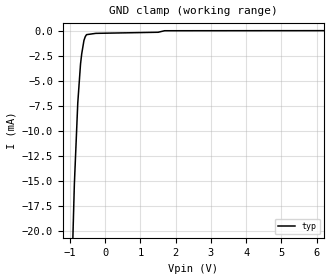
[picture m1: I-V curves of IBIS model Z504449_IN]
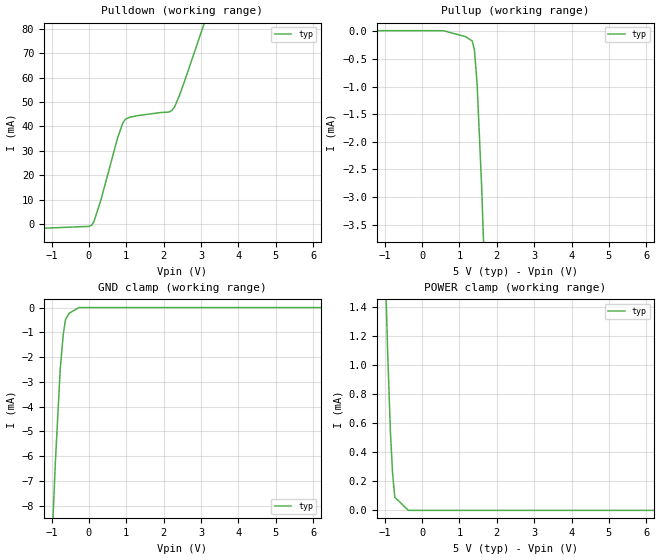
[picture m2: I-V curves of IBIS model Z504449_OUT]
| YOU ARE ONLY AUTHORIZED TO USE THIS SOFTWARE
| ACCORDING TO LICENSOR'S LICENSE RESTRICTIONS.
[IBIS Ver] 3.1
[File Name] sn54ls375j.ibs
[File Rev] 2.0
[Source] Measured and created by ICX Technology
[Date] Friday 7/14/00 9:08:15 AM
[Copyright]
| (C) COPYRIGHT 1993-2000
| MENTOR GRAPHICS CORPORATION
| ICX STANDARD LIBRARY, ICX PROJECT MODELING,
| ICX CUSTOM MODELING, ICX VENDOR MODEL
| ALL RIGHTS RESERVED.
| THE FOLLOWING ARE TRADEMARKS OR SERVICE MARKS OF
| MENTOR GRAPHICS CORPORATION:ICX (R), ICX STANDARD
| LIBRARY(R), ICX PROJECT MODELING(R), ICX CUSTOM
| MODELING(R), qualityIBIS(TM), MODELVIEWER(TM),
| AND MODELEDITOR(TM)
| ALL COPIES OF SOFTWARE, INCLUDING BUT NOT LIMITED TO
| ANY MODIFICATIONS, ENHANCEMENTS OR DERIVATIVE WORKS,
| MUST CONTAIN ALL MENTOR GRAPHICS CORPORATION'S
| NOTICES AND LEGENDS, INCLUDING THOSE EMBEDDED IN
| SOFTWARE AND THOSE AFFIXED TO SOFTWARE MEDIUM
| AND CONTAINER, AS RECEIVED FROM MENTOR GRAPHICS
| CORPORATION.
|  ZAP Model Builder 2.7
[Component] SN54LS375J
[Manufacturer] OnSemiconductor
[Package]
| variable   typ   min   max
R_pkg  .212ohms NA NA
L_pkg  4.758nH NA NA
C_pkg  1.944pF NA NA
[Pin] signal_name  model_name  R_pin  L_pin C_pin
1 D0 Z504449_IN .224 7.258n 2.683p
2 _Q0 Z504449_OUT .216 5.258n 2.19p
3 Q0 Z504449_OUT .208 3.758n 1.697p
4 CLK Z504449_IN .2 2.758n 1.204p
5 Q1 Z504449_OUT .2 2.758n 1.204p
6 _Q1 Z504449_OUT .208 3.758n 1.697p
7 D1 Z504449_IN .216 5.258n 2.19p
8 GND GND .224 7.258n 2.683p
9 D0 Z504449_IN .224 7.258n 2.683p
10 _Q0 Z504449_OUT .216 5.258n 2.19p
11 Q0 Z504449_OUT .208 3.758n 1.697p
12 CLK Z504449_IN .2 2.758n 1.204p
13 Q2 Z504449_OUT .2 2.758n 1.204p
14 _Q2 Z504449_OUT .208 3.758n 1.697p
15 D2 Z504449_IN .216 5.258n 2.19p
16 VCC POWER .224 7.258n 2.683p
| Models and submodels in the file (2): Z504449_IN (Input), Z504449_OUT (Output)
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| (C) COPYRIGHT 1993-2000
| MENTOR GRAPHICS CORPORATION
| ICX STANDARD LIBRARY, ICX PROJECT MODELING,
| ICX CUSTOM MODELING, ICX VENDOR MODEL
| ALL RIGHTS RESERVED.
| THE FOLLOWING ARE TRADEMARKS OR SERVICE MARKS OF
| MENTOR GRAPHICS CORPORATION:ICX (R), ICX STANDARD
| LIBRARY(R), ICX PROJECT MODELING(R), ICX CUSTOM
| MODELING(R), qualityIBIS(TM), MODELVIEWER(TM),
| AND MODELEDITOR(TM)
| ALL COPIES OF SOFTWARE, INCLUDING BUT NOT LIMITED TO
| ANY MODIFICATIONS, ENHANCEMENTS OR DERIVATIVE WORKS,
| MUST CONTAIN ALL MENTOR GRAPHICS CORPORATION'S
| NOTICES AND LEGENDS, INCLUDING THOSE EMBEDDED IN
| SOFTWARE AND THOSE AFFIXED TO SOFTWARE MEDIUM
| AND CONTAINER, AS RECEIVED FROM MENTOR GRAPHICS
| CORPORATION.
| Model Application Version 1.89 2/18/99.
[Model] Z504449_IN
Model_type Input
Vinl = 800.0mV
Vinh = 2.000V
C_comp 4.000pF NA NA
| variable typ   min   max
[Voltage Range] 5.000V NA NA
[GND Clamp Reference] 0.000V NA NA
[POWER Clamp Reference] 5.000V NA NA
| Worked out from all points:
|   GND clamp passes 1 mA (typ) near -0.60 V on its own axis
[GND Clamp]
-5V       -539.6mA   NA         NA
-871.7mV  -15.38mA   NA         NA
-774.8mV  -7.229mA   NA         NA
-696.9mV  -3.347mA   NA         NA
-663.4mV  -2.328mA   NA         NA
-599.9mV  -980.6uA   NA         NA
-563.4mV  -606.7uA   NA         NA
-527.3mV  -399.6uA   NA         NA
-263.7mV  -269.1uA   NA         NA
1.505V    -159.1uA   NA         NA
1.685V    -7.17uA    NA         NA
10V       9.44uA     NA         NA
[POWER Clamp]
-5V       0A         NA         NA
10V       0A         NA         NA
| (C) COPYRIGHT 1993-2000
| MENTOR GRAPHICS CORPORATION
| ICX STANDARD LIBRARY, ICX PROJECT MODELING,
| ICX CUSTOM MODELING, ICX VENDOR MODEL
| ALL RIGHTS RESERVED.
| THE FOLLOWING ARE TRADEMARKS OR SERVICE MARKS OF
| MENTOR GRAPHICS CORPORATION:ICX (R), ICX STANDARD
| LIBRARY(R), ICX PROJECT MODELING(R), ICX CUSTOM
| MODELING(R), qualityIBIS(TM), MODELVIEWER(TM),
| AND MODELEDITOR(TM)
| ALL COPIES OF SOFTWARE, INCLUDING BUT NOT LIMITED TO
| ANY MODIFICATIONS, ENHANCEMENTS OR DERIVATIVE WORKS,
| MUST CONTAIN ALL MENTOR GRAPHICS CORPORATION'S
| NOTICES AND LEGENDS, INCLUDING THOSE EMBEDDED IN
| SOFTWARE AND THOSE AFFIXED TO SOFTWARE MEDIUM
| AND CONTAINER, AS RECEIVED FROM MENTOR GRAPHICS
| CORPORATION.
| Model Application Version 1.89 2/18/99.
[Model] Z504449_OUT
Model_type Output
Vref=5.000V
Rref=2.000kohms
Cref=15.00pF
Vmeas=1.300V
C_comp 8.000pF NA NA
| variable typ   min   max
[Voltage Range] 5.000V NA NA
[POWER Clamp Reference] 5.000V NA NA
[Pullup Reference] 5.000V NA NA
[Pulldown Reference] 0.000V NA NA
[GND Clamp Reference] 0.000V NA NA
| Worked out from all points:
|   slope of the pulldown table from 0 to 0.75 V, typ, clamps not added: 21.3 ohm
|   slope of the pullup table from 0 to 0.75 V, typ, clamps not added: 22.5 kohm
|   GND clamp passes 1 mA (typ) near -0.68 V on its own axis
|   POWER clamp passes 1 mA (typ) near -0.91 V on its own axis
[GND Clamp]
-5V       -192.7mA   NA         NA
-1.206V   -18.37mA   NA         NA
-1.014V   -10.47mA   NA         NA
-898.1mV  -6.295mA   NA         NA
-765.6mV  -2.457mA   NA         NA
-683.6mV  -1.06mA    NA         NA
-625mV    -483.4uA   NA         NA
-528.3mV  -228.6uA   NA         NA
-264.1mV  0A         NA         NA
10V       0A         NA         NA
[Pulldown]
-5V       -4.079mA   NA         NA
9.766mV   -1.012mA   NA         NA
131.5mV   781.2uA    NA         NA
320.7mV   9.77mA     NA         NA
768.9mV   35.32mA    NA         NA
898.4mV   41.05mA    NA         NA
961.9mV   42.7mA     NA         NA
2.232V    46.79mA    NA         NA
2.29V     47.94mA    NA         NA
2.427V    52.87mA    NA         NA
2.617V    61.12mA    NA         NA
10V       395.4mA    NA         NA
[Pullup]
-5V       13.84uA    NA         NA
566mV     13.84uA    NA         NA
1.165V    -94.57uA   NA         NA
1.343V    -172.3uA   NA         NA
1.401V    -328.1uA   NA         NA
1.473V    -937.3uA   NA         NA
1.596V    -2.816mA   NA         NA
10V       -169.9mA   NA         NA
[POWER Clamp]
-5V       46.38mA    NA         NA
-1.011V   1.941mA    NA         NA
-917mV    1.073mA    NA         NA
-845mV    539.9uA    NA         NA
-787mV    253.2uA    NA         NA
-728mV    90.16uA    NA         NA
-364mV    0A         NA         NA
10V       0A         NA         NA
[Ramp]
| variable typ min max
dV/dt_r 1.880/14.18n NA NA
dV/dt_f 1.880/3.221n NA NA
R_load = 500.0Ohms
